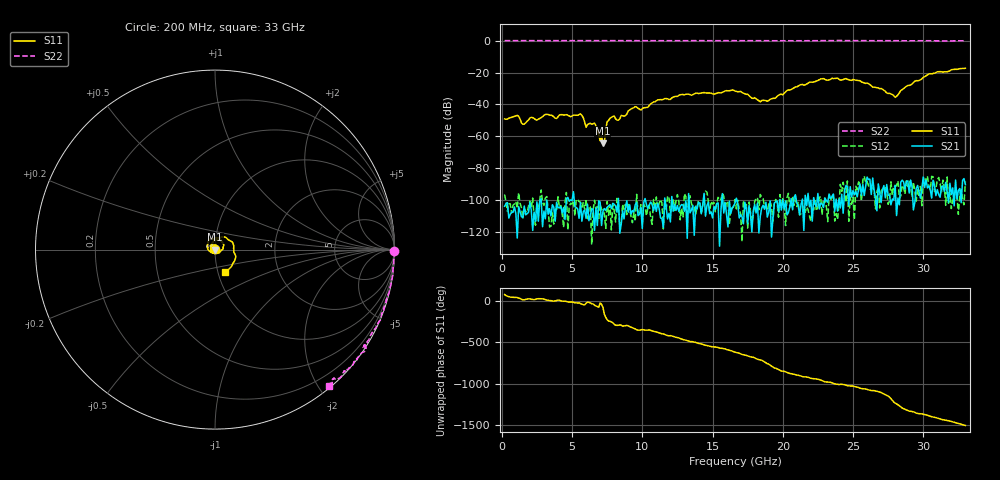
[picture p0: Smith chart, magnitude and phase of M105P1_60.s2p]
# GHZ S RI R 50
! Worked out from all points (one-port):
!   329 points, 200 MHz to 33 GHz, reference 50 ohm
!   lowest |S11| = -64.4 dB at 7.2 GHz (marker M1), VSWR 1.00, Z = 50 - j0.0584 ohm
!   |S11| at or under -10 dB: start of sweep to end of sweep
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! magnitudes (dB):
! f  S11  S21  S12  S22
! 200 MHz  -49.1  -103.9  -96.5  0.0
! 1.1 GHz  -46.8  -123.8  -105.2  0.0
! 1.5 GHz  -52.5  -111.0  -111.6  0.0
! 3.1 GHz  -46.3  -111.7  -98.7  0.0
! 5.7 GHz  -46.9  -113.2  -104.4  0.0
! 6 GHz  -54.3  -111.4  -99.3  0.0
! 6.6 GHz  -51.8  -119.0  -100.1  0.0
! 7.2 GHz  -64.4  -107.1  -105.9  0.0
! 7.3 GHz  -64.1  -105.3  -108.8  0.0
! 7.5 GHz  -50.8  -104.5  -100.9  0.0
! 7.7 GHz  -48.7  -103.0  -102.9  0.0
! 8.3 GHz  -49.9  -98.9  -101.5  0.0
! 9.5 GHz  -41.4  -102.9  -113.2  0.0
! 11.2 GHz  -37.1  -105.3  -102.0  0.0
! 16.6 GHz  -31.7  -101.8  -99.7  0.0
! 18.9 GHz  -38.0  -110.7  -106.7  0.0
! 22.1 GHz  -26.1  -113.2  -106.2  -0.1
! 25 GHz  -24.4  -94.1  -98.3  0.0
! 27.6 GHz  -33.1  -97.1  -100.6  0.0
! 28 GHz  -35.6  -90.7  -91.7  0.0
! 30.4 GHz  -21.0  -91.1  -91.5  0.0
! 33 GHz  -17.3  -90.3  -88.3  -0.1
